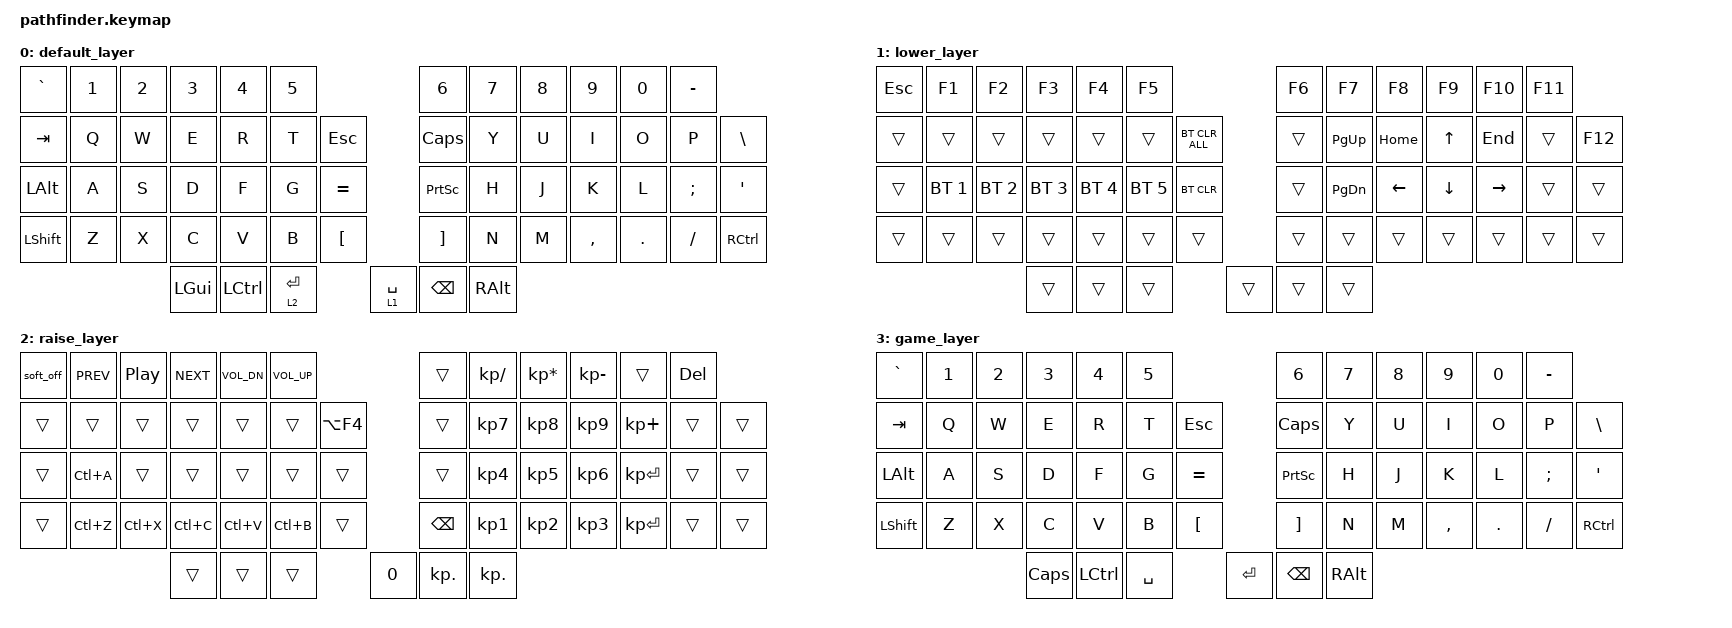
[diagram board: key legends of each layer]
/*
 * Copyright (c) 2020 The ZMK Contributors
 *
 * SPDX-License-Identifier: MIT
 */

#include <behaviors.dtsi>
#include <dt-bindings/zmk/bt.h>
#include <dt-bindings/zmk/keys.h>

&lt { tapping-term-ms = <300>; };

/ {
    combos {
        compatible = "zmk,combos";

        combo_game {
            timeout-ms = <50>;
            key-positions = <0 5>;
            bindings = <&tog 3>;
        };

        CloseApp {
            bindings = <&kp LA(F4)>;
            key-positions = <4 56>;
        };
    };
};

/ {
    keymap {
        compatible = "zmk,keymap";

        default_layer {
            // -----------------------------------------------------------------------------------------
            // |  ESC |  1  |  2  |  3  |  4  |  5  |                        |  6  |  7   |  8  |  9  |  0  | BKSP |
            // |  TAB |  Q  |  W  |  E  |  R  |  T  | PG_UP |        | HOME  |  Y  |  U   |  I  |  O  |  P  |  |   |
            // | SHFT |  A  |  S  |  D  |  F  |  G  | PG_DN |        |  END  |  H  |  J   |  K  |  L  |  ;  |  '   |
            // | CTRL |  Z  |  X  |  C  |  V  |  B  | LBKT  |        |  RBKT |  N  |  M   |  ,  |  .  |  /  | RCTRL|
            //                        | GUI | RSE | RET |               | SPC | LWR  | ALT |

            bindings = <
&kp GRAVE  &kp N1  &kp N2  &kp N3    &kp N4     &kp N5                             &kp N6     &kp N7    &kp N8  &kp N9     &kp N0   &kp MINUS
&kp TAB    &kp Q   &kp W   &kp E     &kp R      &kp T      &kp ESC                 &kp CAPS   &kp Y     &kp U   &kp I      &kp O    &kp P      &kp BSLH
&kp LALT   &kp A   &kp S   &kp D     &kp F      &kp G      &kp EQUAL               &kp PSCRN  &kp H     &kp J   &kp K      &kp L    &kp SEMI   &kp SQT
&kp LSHFT  &kp Z   &kp X   &kp C     &kp V      &kp B      &kp LBKT                &kp RBKT   &kp N     &kp M   &kp COMMA  &kp DOT  &kp FSLH   &kp RCTRL
                           &kp LGUI  &kp LCTRL  &lt 2 RET             &lt 1 SPACE  &kp BSPC   &kp RALT
            >;
        };

        lower_layer {
            // -----------------------------------------------------------------------------------------
            // |  F1  | F2  | F3  | F4  | F5  | F6  |                      | F7  | F8  | F9  | F10 | F11 |  F12 |
            // |      |     |     |     |     |     |     |          |     |     |     |  UP |     |MINUS|      |
            // |      | BT1 | BT2 | BT3 | BT4 | BT5 |BTCLR|          |     |     | LFT | DWN | RGT |     |      |
            // |      |     |     |     |     |     |     |          |     |     |     |     |     |     |      |
            //                        |     |     |     |              |     |     |     |

            bindings = <
&kp ESC  &kp F1        &kp F2        &kp F3        &kp F4        &kp F5                                &kp F6  &kp F7     &kp F8    &kp F9    &kp F10    &kp F11
&trans   &trans        &trans        &trans        &trans        &trans        &bt BT_CLR_ALL          &trans  &kp PG_UP  &kp HOME  &kp UP    &kp END    &trans   &kp F12
&trans   &bt BT_SEL 1  &bt BT_SEL 2  &bt BT_SEL 3  &bt BT_SEL 4  &bt BT_SEL 5  &bt BT_CLR              &trans  &kp PG_DN  &kp LEFT  &kp DOWN  &kp RIGHT  &trans   &trans
&trans   &trans        &trans        &trans        &trans        &trans        &trans                  &trans  &trans     &trans    &trans    &trans     &trans   &trans
                                     &trans        &trans        &trans                        &trans  &trans  &trans
            >;
        };

        raise_layer {
            // -----------------------------------------------------------------------------------------
            // |   `~ |     |     |     |     |     |                      |     |     | KP D| KP X| KP -|  DEL |
            // |      |     |     |     |     |     |     |          |     |     | KP 7| KP 8| KP 9| KP+ |      |
            // |      | PRV |PL/PS|NEXT |VOLU |VOLD |     |          |     |     | KP 4| KP 5| KP 6| KPEN|      |
            // |      |     |     |     |     |     |     |          |     |     | KP 1| KP 2| KP 3| KPEN|      |
            //                        |     |     |     |              |     |     |     |

            bindings = <
&soft_off  &kp C_PREV  &kp C_PLAY_PAUSE  &kp C_NEXT  &kp C_VOL_DN  &kp C_VOLUME_UP                      &trans         &kp KP_SLASH  &kp KP_MULTIPLY  &kp KP_MINUS  &trans        &kp DEL
&trans     &trans      &trans            &trans      &trans        &trans           &kp LA(F4)          &trans         &kp KP_N7     &kp KP_N8        &kp KP_N9     &kp KP_PLUS   &trans   &trans
&trans     &kp LC(A)   &trans            &trans      &trans        &trans           &trans              &trans         &kp KP_N4     &kp KP_N5        &kp KP_N6     &kp KP_ENTER  &trans   &trans
&trans     &kp LC(Z)   &kp LC(X)         &kp LC(C)   &kp LC(V)     &kp LC(B)        &trans              &kp BACKSPACE  &kp KP_N1     &kp KP_N2        &kp KP_N3     &kp KP_ENTER  &trans   &trans
                                         &trans      &trans        &trans                       &kp N0  &kp KP_DOT     &kp KP_DOT
            >;
        };

        game_layer {
            // -----------------------------------------------------------------------------------------
            // |   `~ |     |     |     |     |     |                      |     |     | KP D| KP X| KP -|  DEL |
            // |      |     |     |     |     |     |     |          |     |     | KP 7| KP 8| KP 9| KP+ |      |
            // |      | PRV |PL/PS|NEXT |VOLU |VOLD |     |          |     |     | KP 4| KP 5| KP 6| KPEN|      |
            // |      |     |     |     |     |     |     |          |     |     | KP 1| KP 2| KP 3| KPEN|      |
            //                        |     |     |     |              |     |     |     |

            bindings = <
&kp GRAVE  &kp N1  &kp N2  &kp N3    &kp N4     &kp N5                         &kp N6     &kp N7    &kp N8  &kp N9     &kp N0   &kp MINUS
&kp TAB    &kp Q   &kp W   &kp E     &kp R      &kp T      &kp ESC             &kp CAPS   &kp Y     &kp U   &kp I      &kp O    &kp P      &kp BSLH
&kp LALT   &kp A   &kp S   &kp D     &kp F      &kp G      &kp EQUAL           &kp PSCRN  &kp H     &kp J   &kp K      &kp L    &kp SEMI   &kp SQT
&kp LSHFT  &kp Z   &kp X   &kp C     &kp V      &kp B      &kp LBKT            &kp RBKT   &kp N     &kp M   &kp COMMA  &kp DOT  &kp FSLH   &kp RCTRL
                           &kp CAPS  &kp LCTRL  &kp SPACE             &kp RET  &kp BSPC   &kp RALT
            >;
        };
    };
};
